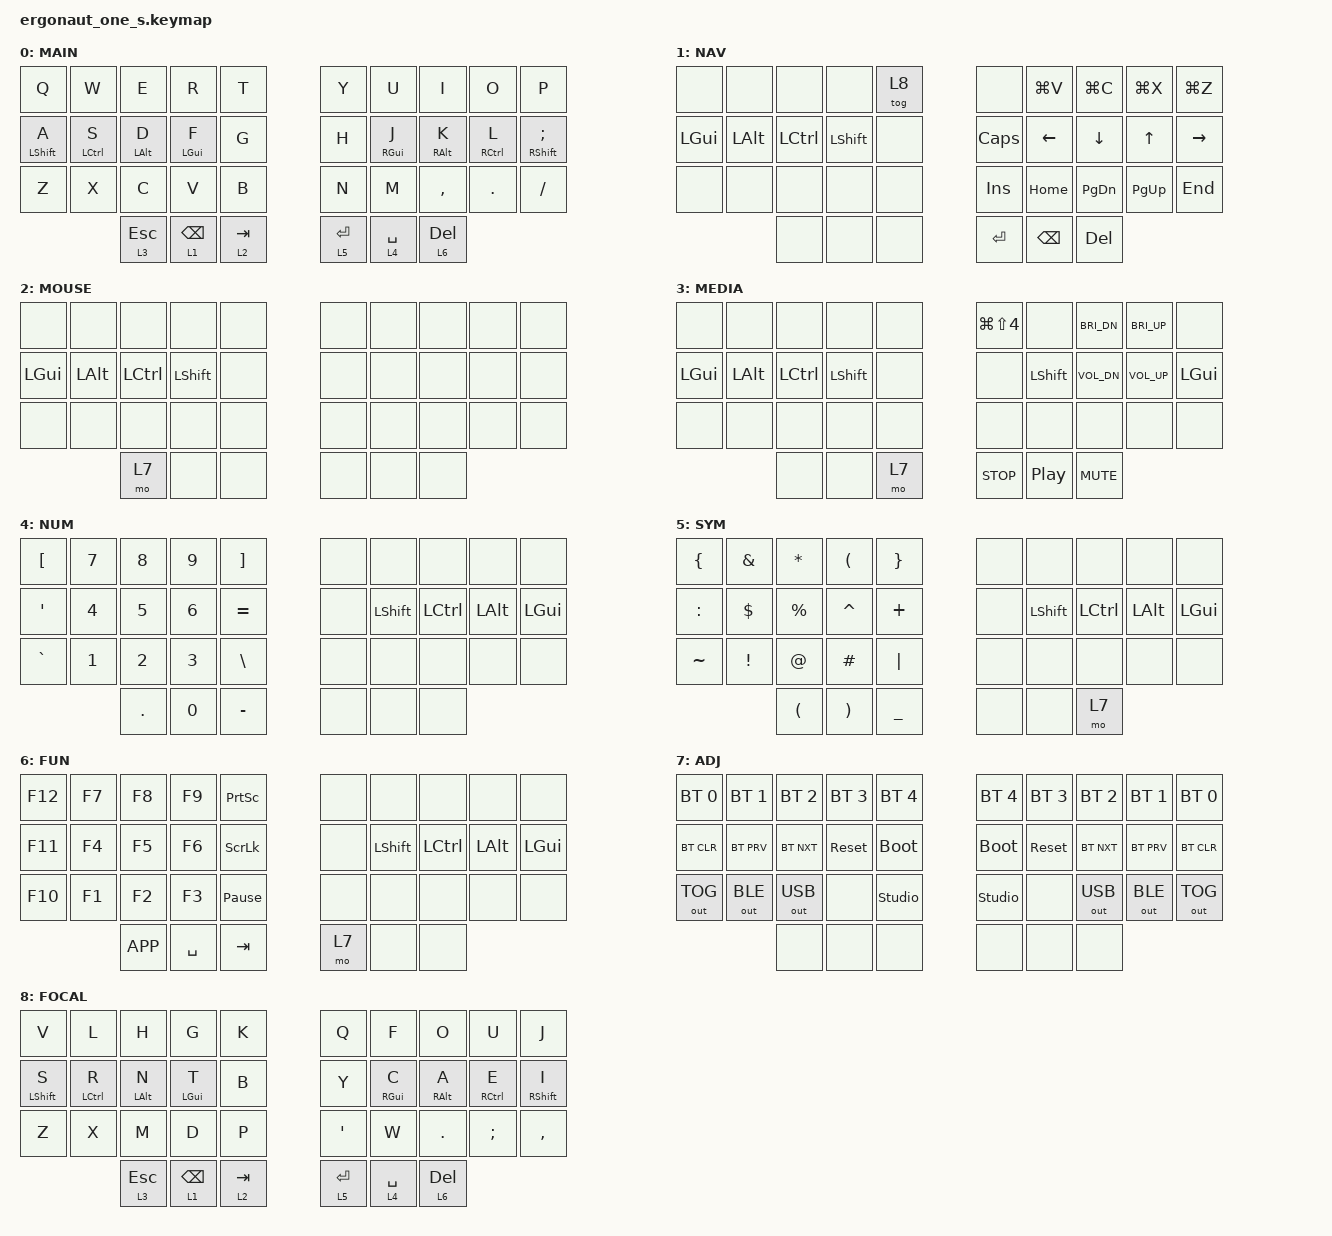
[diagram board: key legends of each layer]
#include <behaviors.dtsi>
#include <dt-bindings/zmk/bt.h>
#include <dt-bindings/zmk/keys.h>
#include <dt-bindings/zmk/outputs.h>

#define BASE 0
#define NAV 1
#define MOUSE 2
#define MEDIA 3
#define NUM 4
#define SYM 5
#define FUN 6
#define ADJ 7

/ {
    behaviors {
        hm: homerow_mods {
            compatible = "zmk,behavior-hold-tap";
            label = "HOMEROW_MODS";
            #binding-cells = <2>;
            tapping-term-ms = <220>;
            quick_tap_ms = <0>;
            flavor = "balanced";
            bindings = <&kp>, <&kp>;
        };
    };

    keymap {
        compatible = "zmk,keymap";

        default_layer {
            display-name = "MAIN";
            bindings = <
&kp Q             &kp W               &kp E           &kp R           &kp T            &kp Y      &kp U            &kp I            &kp O                &kp P
&hm LEFT_SHIFT A  &hm LEFT_CONTROL S  &hm LEFT_ALT D  &hm LEFT_GUI F  &kp G            &kp H      &hm RIGHT_GUI J  &hm RIGHT_ALT K  &hm RIGHT_CONTROL L  &hm RIGHT_SHIFT SEMI
&kp Z             &kp X               &kp C           &kp V           &kp B            &kp N      &kp M            &kp COMMA        &kp DOT              &kp FSLH
                                                      &lt 3 ESC       &lt 1 BACKSPACE  &lt 2 TAB  &lt 5 RET        &lt 4 SPACE      &lt 6 DEL
            >;
        };

        nav_layer {
            display-name = "NAV";
            bindings = <
&none     &none     &none      &none      &tog 8  &none     &kp LG(V)  &kp LG(C)  &kp LG(X)  &kp LG(Z)
&kp LGUI  &kp LALT  &kp LCTRL  &kp LSHFT  &none   &kp CAPS  &kp LEFT   &kp DOWN   &kp UP     &kp RIGHT
&none     &none     &none      &none      &none   &kp INS   &kp HOME   &kp PG_DN  &kp PG_UP  &kp END
                               &none      &none   &none     &kp RET    &kp BSPC   &kp DEL
            >;
        };

        mouse_layer {
            display-name = "MOUSE";
            bindings = <
&none     &none     &none      &none      &none  &none  &none  &none  &none  &none
&kp LGUI  &kp LALT  &kp LCTRL  &kp LSHFT  &none  &none  &none  &none  &none  &none
&none     &none     &none      &none      &none  &none  &none  &none  &none  &none
                               &mo 7      &none  &none  &none  &none  &none
            >;
        };

        media_layer {
            display-name = "MEDIA";
            bindings = <
&none     &none     &none      &none      &none  &kp LG(LS(N4))  &none       &kp C_BRI_DN  &kp C_BRI_UP  &none
&kp LGUI  &kp LALT  &kp LCTRL  &kp LSHFT  &none  &none           &kp LSHFT   &kp C_VOL_DN  &kp C_VOL_UP  &kp LGUI
&none     &none     &none      &none      &none  &none           &none       &none         &none         &none
                               &none      &none  &mo 7           &kp C_STOP  &kp C_PP      &kp K_MUTE
            >;
        };

        num_layer {
            display-name = "NUM";
            bindings = <
&kp LBKT   &kp N7  &kp N8  &kp N9   &kp RBKT   &none      &none      &none      &none     &none
&kp SQT    &kp N4  &kp N5  &kp N6   &kp EQUAL  &none      &kp LSHFT  &kp LCTRL  &kp LALT  &kp LGUI
&kp GRAVE  &kp N1  &kp N2  &kp N3   &kp BSLH   &none      &none      &none      &none     &none
                           &kp DOT  &kp N0     &kp MINUS  &none      &none      &none
            >;
        };

        sym_layer {
            display-name = "SYM";
            bindings = <
&kp LBRC   &kp AMPS  &kp STAR   &kp LPAR   &kp RBRC  &none      &none      &none      &none     &none
&kp COLON  &kp DLLR  &kp PRCNT  &kp CARET  &kp PLUS  &none      &kp LSHFT  &kp LCTRL  &kp LALT  &kp LGUI
&kp TILDE  &kp EXCL  &kp AT     &kp HASH   &kp PIPE  &none      &none      &none      &none     &none
                                &kp LPAR   &kp RPAR  &kp UNDER  &none      &none      &mo 7
            >;
        };

        fun_layer {
            display-name = "FUN";
            bindings = <
&kp F12  &kp F7  &kp F8  &kp F9     &kp PSCRN        &none    &none      &none      &none     &none
&kp F11  &kp F4  &kp F5  &kp F6     &kp SLCK         &none    &kp LSHFT  &kp LCTRL  &kp LALT  &kp LGUI
&kp F10  &kp F1  &kp F2  &kp F3     &kp PAUSE_BREAK  &none    &none      &none      &none     &none
                         &kp K_APP  &kp SPACE        &kp TAB  &mo 7      &none      &none
            >;
        };

        adj_layer {
            display-name = "ADJ";
            bindings = <
&bt BT_SEL 0  &bt BT_SEL 1  &bt BT_SEL 2  &bt BT_SEL 3  &bt BT_SEL 4    &bt BT_SEL 4    &bt BT_SEL 3  &bt BT_SEL 2  &bt BT_SEL 1  &bt BT_SEL 0
&bt BT_CLR    &bt BT_PRV    &bt BT_NXT    &sys_reset    &bootloader     &bootloader     &sys_reset    &bt BT_NXT    &bt BT_PRV    &bt BT_CLR
&out OUT_TOG  &out OUT_BLE  &out OUT_USB  &none         &studio_unlock  &studio_unlock  &none         &out OUT_USB  &out OUT_BLE  &out OUT_TOG
                                          &none         &none           &none           &none         &none         &none
            >;
        };

        focal_layer {
            display-name = "FOCAL";
            bindings = <
&kp V             &kp L               &kp H       &kp G       &kp K            &kp Q      &kp F       &kp O            &kp U                &kp J
&hm LEFT_SHIFT S  &hm LEFT_CONTROL R  &hm LALT N  &hm LGUI T  &kp B            &kp Y      &hm RGUI C  &hm RIGHT_ALT A  &hm RIGHT_CONTROL E  &hm RIGHT_SHIFT I
&kp Z             &kp X               &kp M       &kp D       &kp P            &kp APOS   &kp W       &kp DOT          &kp SEMI             &kp COMMA
                                                  &lt 3 ESC   &lt 1 BACKSPACE  &lt 2 TAB  &lt 5 RET   &lt 4 SPACE      &lt 6 DEL
            >;
        };
    };
};
